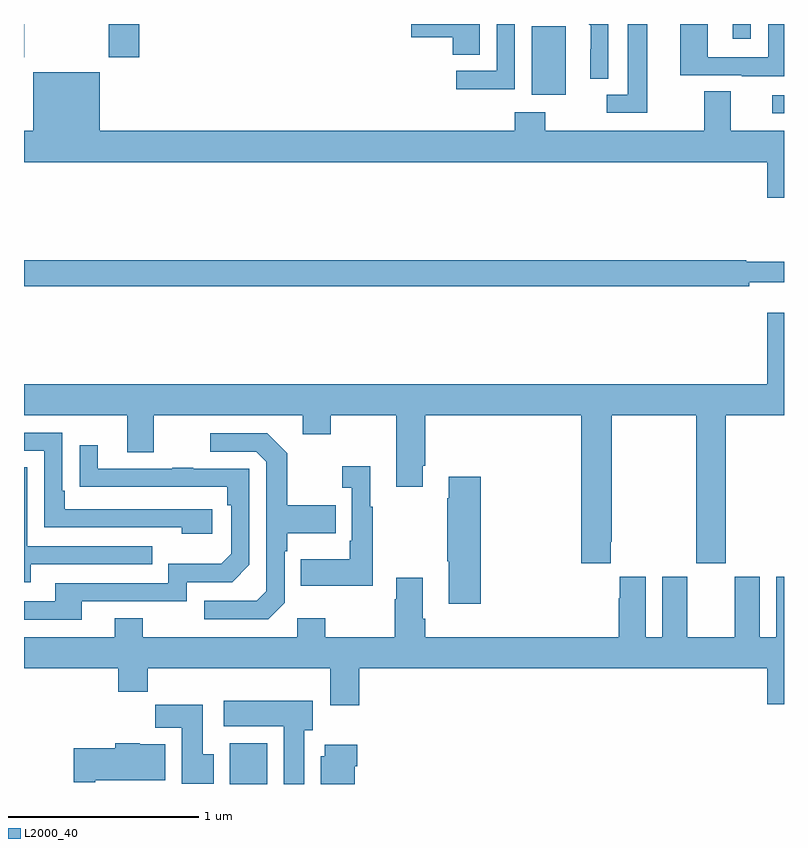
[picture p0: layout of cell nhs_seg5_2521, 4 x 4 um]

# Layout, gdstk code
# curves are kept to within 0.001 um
import gdstk
lib = gdstk.Library(unit=1e-6, precision=1e-09)
def R(c, l, rs):  # rectangles x0, y0, x1, y1
    for r in rs: c.add(gdstk.rectangle(r[:2], r[2:], *l))
def P(c, l, *ps):  # polygons
    for p in ps: c.add(gdstk.Polygon(p, *l))
L2000_40 = (2000, 40)

nhs_seg5_2521 = lib.new_cell('nhs_seg5_2521')
R(nhs_seg5_2521, L2000_40, [(258.083,874.799,258.279,875.014), (260.937,878.328,261,878.424), (259.673,878.426,259.852,878.787), (257,878.625,257.001,878.799), (257.446,878.625,257.606,878.799), (260.729,878.721,260.826,878.799)])
P(nhs_seg5_2521, L2000_40, [(260.076,878.799),(259.972,878.799),(259.982,878.789),(259.982,878.666),(259.98,878.666),(259.98,878.512),(260.076,878.512)],
  [(259.584,878.799),(259.488,878.799),(259.488,878.553),(259.275,878.553),(259.275,878.455),(259.584,878.455)],
  [(259.399,878.799),(259.038,878.799),(259.038,878.729),(259.256,878.729),(259.256,878.638),(259.399,878.638)],
  [(261,878.799),(260.916,878.799),(260.916,878.625),(260.598,878.625),(260.598,878.799),(260.453,878.799),(260.453,878.529),(260.777,878.529),(260.777,878.525),(261,878.525)],
  [(260.281,878.799),(260.177,878.799),(260.177,878.427),(260.067,878.427),(260.067,878.331),(260.281,878.331)],
  [(261,878.236),(260.719,878.236),(260.719,878.444),(260.579,878.444),(260.579,878.236),(259.743,878.236),(259.743,878.335),(259.583,878.335),(259.583,878.236),(257.398,878.236),(257.398,878.545),(257.048,878.545),(257.048,878.236),(257,878.236),(257,878.072),(260.912,878.072),(260.912,877.884),(261,877.884)],
  [(260.816,877.439),(261,877.439),(261,877.549),(260.8,877.549),(260.8,877.556),(257,877.556),(257,877.42),(260.816,877.42)],
  [(257,876.74),(257.543,876.74),(257.543,876.546),(257.683,876.546),(257.683,876.74),(258.467,876.74),(258.467,876.641),(258.615,876.641),(258.615,876.74),(258.959,876.74),(258.959,876.363),(259.099,876.363),(259.099,876.475),(259.112,876.475),(259.112,876.74),(259.934,876.74),(259.934,875.961),(260.089,875.961),(260.089,876.073),(260.094,876.073),(260.094,876.74),(260.539,876.74),(260.539,875.961),(260.694,875.961),(260.694,876.74),(261,876.74),(261,877.279),(260.912,877.279),(260.912,876.904),(257,876.904)],
  [(257.992,876.246),(257.215,876.246),(257.215,876.343),(257.202,876.343),(257.202,876.648),(257,876.648),(257,876.552),(257.106,876.552),(257.106,876.15),(257.831,876.15),(257.831,876.116),(257.992,876.116)],
  [(258.372,875.754),(258.372,876.023),(258.385,876.023),(258.385,876.119),(258.641,876.119),(258.641,876.267),(258.385,876.267),(258.385,876.539),(258.279,876.645),(257.979,876.645),(257.979,876.549),(258.222,876.549),(258.276,876.495),(258.276,875.814),(258.225,875.763),(257.949,875.763),(257.949,875.667),(258.285,875.667)],
  [(257.305,875.76),(257.856,875.76),(257.856,875.862),(258.096,875.862),(258.186,875.952),(258.186,876.459),(257.891,876.459),(257.891,876.464),(257.779,876.464),(257.779,876.459),(257.389,876.459),(257.389,876.583),(257.293,876.583),(257.293,876.364),(258.07,876.363),(258.07,876.266),(258.09,876.266),(258.09,876.012),(258.037,875.959),(257.76,875.959),(257.76,875.856),(257.165,875.856),(257.165,875.76),(257,875.76),(257,875.664),(257.305,875.664)],
  [(258.835,876.259),(258.823,876.259),(258.823,876.472),(258.675,876.472),(258.675,876.359),(258.726,876.359),(258.726,876.079),(258.714,876.079),(258.714,875.983),(258.457,875.983),(258.457,875.843),(258.835,875.843)],
  [(257.035,875.955),(257.675,875.955),(257.675,876.051),(257.016,876.051),(257.016,876.467),(257,876.467),(257,875.861),(257.035,875.861)],
  [(259.403,876.415),(259.235,876.415),(259.235,876.302),(259.228,876.302),(259.228,875.971),(259.235,875.971),(259.235,875.748),(259.403,875.748)],
  [(258.611,875.214),(258.764,875.214),(258.764,875.408),(260.912,875.408),(260.912,875.22),(261,875.22),(261,875.89),(260.96,875.89),(260.96,875.572),(260.872,875.572),(260.872,875.89),(260.741,875.89),(260.741,875.572),(260.491,875.572),(260.491,875.89),(260.36,875.89),(260.36,875.572),(260.272,875.572),(260.272,875.89),(260.135,875.89),(260.135,875.777),(260.129,875.777),(260.129,875.572),(259.112,875.572),(259.112,875.668),(259.099,875.668),(259.099,875.884),(258.959,875.884),(258.959,875.771),(258.952,875.771),(258.952,875.572),(258.585,875.572),(258.585,875.671),(258.438,875.671),(258.438,875.572),(257.625,875.572),(257.625,875.671),(257.477,875.671),(257.477,875.572),(257,875.572),(257,875.408),(257.495,875.408),(257.495,875.284),(257.651,875.284),(257.651,875.408),(258.611,875.408)],
  [(258.475,875.082),(258.52,875.082),(258.52,875.236),(258.051,875.236),(258.051,875.102),(258.368,875.102),(258.368,874.799),(258.475,874.799)],
  [(257.998,874.956),(257.941,874.956),(257.941,875.215),(257.692,875.215),(257.692,875.096),(257.831,875.096),(257.831,874.8),(257.998,874.8)],
  [(257.374,874.82),(257.743,874.82),(257.743,875.008),(257.61,875.008),(257.61,875.014),(257.48,875.014),(257.48,874.986),(257.262,874.986),(257.262,874.808),(257.374,874.808)],
  [(258.742,874.892),(258.755,874.892),(258.755,875.005),(258.584,875.005),(258.584,874.944),(258.563,874.944),(258.563,874.799),(258.742,874.799)])

lib.write_gds('nhs_seg5_2521.gds')
